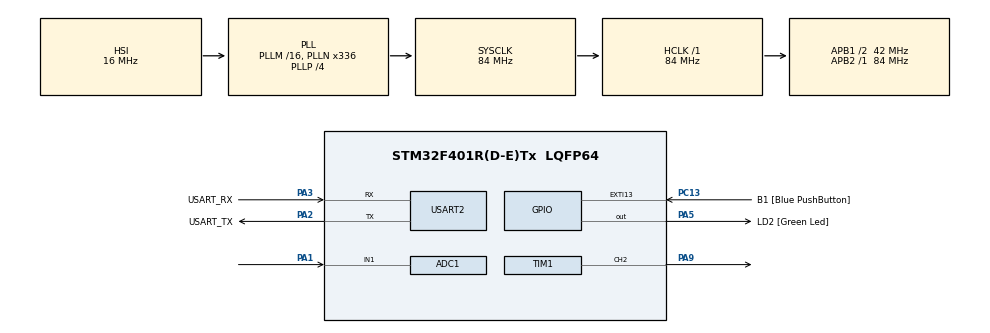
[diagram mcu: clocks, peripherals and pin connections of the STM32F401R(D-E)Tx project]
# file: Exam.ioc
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ADC1.Channel-0\#ChannelRegularConversion=ADC_CHANNEL_1
ADC1.ExternalTrigConv=ADC_EXTERNALTRIGCONV_T3_TRGO
ADC1.NbrOfConversionFlag=1
ADC1.Rank-0\#ChannelRegularConversion=1
ADC1.SamplingTime-0\#ChannelRegularConversion=ADC_SAMPLETIME_480CYCLES
ADC1.master=1
Mcu.Family=STM32F4
Mcu.Name=STM32F401R(D-E)Tx
Mcu.Package=LQFP64
NVIC.ADC_IRQn=true\:1\:0\:true\:false\:true\:true\:true\:true
NVIC.PriorityGroup=NVIC_PRIORITYGROUP_1
PA1.Signal=SharedAnalog_PA1
PA13.GPIO_Label=TMS
PA13.Mode=Serial_Wire
PA13.Signal=SYS_JTMS-SWDIO
PA14.GPIO_Label=TCK
PA14.Mode=Serial_Wire
PA14.Signal=SYS_JTCK-SWCLK
PA2.GPIO_Label=USART_TX
PA2.GPIO_Mode=GPIO_MODE_AF_PP
PA2.GPIO_PuPd=GPIO_NOPULL
PA2.GPIO_Speed=GPIO_SPEED_FREQ_LOW
PA2.Mode=Asynchronous
PA2.Signal=USART2_TX
PA3.GPIO_Label=USART_RX
PA3.GPIO_Mode=GPIO_MODE_AF_PP
PA3.GPIO_PuPd=GPIO_NOPULL
PA3.GPIO_Speed=GPIO_SPEED_FREQ_LOW
PA3.Mode=Asynchronous
PA3.Signal=USART2_RX
PA5.GPIO_Label=LD2 [Green Led]
PA5.GPIO_Mode=GPIO_MODE_OUTPUT_PP
PA5.GPIO_PuPd=GPIO_NOPULL
PA5.GPIO_Speed=GPIO_SPEED_FREQ_LOW
PA5.Signal=GPIO_Output
PA9.Signal=S_TIM1_CH2
PB3.GPIO_Label=SWO
PB3.Signal=SYS_JTDO-SWO
PC13-ANTI_TAMP.GPIO_Label=B1 [Blue PushButton]
PC13-ANTI_TAMP.GPIO_ModeDefaultEXTI=GPIO_MODE_IT_FALLING
PC13-ANTI_TAMP.GPIO_PuPd=GPIO_NOPULL
PC13-ANTI_TAMP.Signal=GPXTI13
PC14-OSC32_IN.Mode=LSE-External-Oscillator
PC14-OSC32_IN.Signal=RCC_OSC32_IN
PC15-OSC32_OUT.Mode=LSE-External-Oscillator
PC15-OSC32_OUT.Signal=RCC_OSC32_OUT
PH0\ -\ OSC_IN.Mode=HSE-External-Clock-Source
PH0\ -\ OSC_IN.Signal=RCC_OSC_IN
PH1\ -\ OSC_OUT.Mode=HSE-External-Clock-Source
PH1\ -\ OSC_OUT.Signal=RCC_OSC_OUT
ProjectManager.HeapSize=0x200
ProjectManager.StackSize=0x400
ProjectManager.TargetToolchain=STM32CubeIDE
RCC.48MHZClocksFreq_Value=48000000
RCC.AHBFreq_Value=84000000
RCC.APB1CLKDivider=RCC_HCLK_DIV2
RCC.APB1Freq_Value=42000000
RCC.APB1TimFreq_Value=84000000
RCC.APB2Freq_Value=84000000
RCC.APB2TimFreq_Value=84000000
RCC.CortexFreq_Value=84000000
RCC.HCLKFreq_Value=84000000
RCC.HSE_VALUE=8000000
RCC.HSI_VALUE=16000000
RCC.PLLN=336
RCC.PLLP=RCC_PLLP_DIV4
RCC.PLLQ=7
RCC.SYSCLKFreq_VALUE=84000000
RCC.SYSCLKSource=RCC_SYSCLKSOURCE_PLLCLK
RCC.VCOOutputFreq_Value=336000000
SH.S_TIM1_CH2.0=TIM1_CH2,PWM Generation2 CH2
SH.SharedAnalog_PA1.0=GPIO_Analog
SH.SharedAnalog_PA1.1=ADC1_IN1,IN1
TIM1.Channel-PWM\ Generation2\ CH2=TIM_CHANNEL_2
TIM3.Channel-PWM\ Generation1\ No\ Output=TIM_CHANNEL_1
TIM3.Period=10000-1
TIM3.Prescaler=8400-1
TIM3.Pulse-PWM\ Generation1\ No\ Output=5000-1
TIM3.TIM_MasterOutputTrigger=TIM_TRGO_UPDATE
USART2.VirtualMode=VM_ASYNC
VP_TIM3_VS_ClockSourceINT.Mode=Internal
VP_TIM3_VS_no_output1.Mode=PWM Generation1 No Output
board=NUCLEO-F401RE

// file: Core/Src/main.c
/* USER CODE BEGIN Header */
/**
  ******************************************************************************
  * @file           : main.c
  * @brief          : Main program body
  ******************************************************************************
  * @attention
  *
  * Copyright (c) 2023 STMicroelectronics.
  * All rights reserved.
  *
  * This software is licensed under terms that can be found in the LICENSE file
  * in the root directory of this software component.
  * If no LICENSE file comes with this software, it is provided AS-IS.
  *
  ******************************************************************************
  */
/* USER CODE END Header */
#include "main.h"

/* USER CODE BEGIN PTD */
#define TIME_UNIT 1000
/* USER CODE END PTD */

ADC_HandleTypeDef hadc1;

TIM_HandleTypeDef htim1;
TIM_HandleTypeDef htim3;

UART_HandleTypeDef huart2;

/* USER CODE BEGIN PV */
float old_voltage=0;
float voltage=0;
int play_l=0;
int play_h=0;
/* USER CODE END PV */

void SystemClock_Config(void);
static void MX_GPIO_Init(void);
static void MX_USART2_UART_Init(void);
static void MX_ADC1_Init(void);
static void MX_TIM3_Init(void);
static void MX_TIM1_Init(void);
/* USER CODE BEGIN PFP */
void HAL_ADC_ConvCpltCallback(ADC_HandleTypeDef* hadc){
	old_voltage=voltage;
	int conversion=HAL_ADC_GetValue(&hadc1);
	voltage= conversion*3.3/4096.0;
	char string[64]="";
	snprintf(string, sizeof(string), "voltage: %0.3f\r\n",voltage);
	HAL_UART_Transmit(&huart2, string, sizeof(string), 1000);
	if(old_voltage>0.5 && voltage<0.5){
		snprintf(string, sizeof(string), "play low\r\n");
		HAL_UART_Transmit(&huart2, string, sizeof(string), 1000);
		play_l=1;;
	}
	if(old_voltage<2.8 && voltage>2.8){
		snprintf(string, sizeof(string), "play high\r\n");
		HAL_UART_Transmit(&huart2, string, sizeof(string), 1000);
		play_h=1;
	}
}
static void setFrequency(char* note)
{
  TIM_ClockConfigTypeDef sClockSourceConfig = {0};
  TIM_MasterConfigTypeDef sMasterConfig = {0};
  TIM_OC_InitTypeDef sConfigOC = {0};
  TIM_BreakDeadTimeConfigTypeDef sBreakDeadTimeConfig = {0};

  htim1.Instance = TIM1;
  htim1.Init.Prescaler = 100;
  htim1.Init.CounterMode = TIM_COUNTERMODE_UP;
  htim1.Init.Period = getPeriod(note)-1;
  htim1.Init.ClockDivision = TIM_CLOCKDIVISION_DIV1;
  htim1.Init.RepetitionCounter = 0;
  htim1.Init.AutoReloadPreload = TIM_AUTORELOAD_PRELOAD_DISABLE;
  if (HAL_TIM_Base_Init(&htim1) != HAL_OK)
  {
    Error_Handler();
  }
  sClockSourceConfig.ClockSource = TIM_CLOCKSOURCE_INTERNAL;
  if (HAL_TIM_ConfigClockSource(&htim1, &sClockSourceConfig) != HAL_OK)
  {
    Error_Handler();
  }
  if (HAL_TIM_PWM_Init(&htim1) != HAL_OK)
  {
    Error_Handler();
  }
  sMasterConfig.MasterOutputTrigger = TIM_TRGO_RESET;
  sMasterConfig.MasterSlaveMode = TIM_MASTERSLAVEMODE_DISABLE;
  if (HAL_TIMEx_MasterConfigSynchronization(&htim1, &sMasterConfig) != HAL_OK)
  {
    Error_Handler();
  }
  sConfigOC.OCMode = TIM_OCMODE_PWM1;
  sConfigOC.Pulse = (int)getPeriod(note)/2 -1;
  sConfigOC.OCPolarity = TIM_OCPOLARITY_HIGH;
  sConfigOC.OCNPolarity = TIM_OCNPOLARITY_HIGH;
  sConfigOC.OCFastMode = TIM_OCFAST_DISABLE;
  sConfigOC.OCIdleState = TIM_OCIDLESTATE_RESET;
  sConfigOC.OCNIdleState = TIM_OCNIDLESTATE_RESET;
  if (HAL_TIM_PWM_ConfigChannel(&htim1, &sConfigOC, TIM_CHANNEL_2) != HAL_OK)
  {
    Error_Handler();
  }
  sBreakDeadTimeConfig.OffStateRunMode = TIM_OSSR_DISABLE;
  sBreakDeadTimeConfig.OffStateIDLEMode = TIM_OSSI_DISABLE;
  sBreakDeadTimeConfig.LockLevel = TIM_LOCKLEVEL_OFF;
  sBreakDeadTimeConfig.DeadTime = 0;
  sBreakDeadTimeConfig.BreakState = TIM_BREAK_DISABLE;
  sBreakDeadTimeConfig.BreakPolarity = TIM_BREAKPOLARITY_HIGH;
  sBreakDeadTimeConfig.AutomaticOutput = TIM_AUTOMATICOUTPUT_DISABLE;
  if (HAL_TIMEx_ConfigBreakDeadTime(&htim1, &sBreakDeadTimeConfig) != HAL_OK)
  {
    Error_Handler();
  }
  HAL_TIM_MspPostInit(&htim1);
}

int getPeriod(char* note){
	if(strcmp(note, "la")==0)
		return 1909;
	else if (strcmp(note, "la#")==0)
			return 1802;
	else if (strcmp(note, "si")==0)
			return 1700;
	else if (strcmp(note, "do")==0)
			return 3206;
	else if (strcmp(note, "do#")==0)
			return 3032;
	else if (strcmp(note, "re")==0)
			return 2857;
	else if (strcmp(note, "re5")==0)
				return 1431;
	else if (strcmp(note, "re#")==0)
			return 2700;
	else if (strcmp(note, "mi")==0)
			return 2545;
	else if (strcmp(note, "fa")==0)
			return 2406;
	else if (strcmp(note, "fa#")==0)
			return 2270;
	else if (strcmp(note, "sol")==0)
			return 2142;
	else if (strcmp(note, "sol#")==0)
			return 2024;
}
void setNote (char* note, int delay){
	setFrequency(note);
	HAL_TIM_PWM_Start(&htim1, TIM_CHANNEL_2);
	HAL_Delay(delay);
	HAL_TIM_PWM_Stop(&htim1, TIM_CHANNEL_2);
}
void play_high(){
	 setNote("sol", (int)TIME_UNIT * 3/8);
}
void play_low(){
	 setNote("la", (int)TIME_UNIT * 3/8);
}
/* USER CODE END PFP */

int main(void)
{

  /* MCU Configuration--------------------------------------------------------*/

  /* Reset of all peripherals, Initializes the Flash interface and the Systick. */
  HAL_Init();

  /* Configure the system clock */
  SystemClock_Config();

  /* Initialize all configured peripherals */
  MX_GPIO_Init();
  MX_USART2_UART_Init();
  MX_ADC1_Init();
  MX_TIM3_Init();
  MX_TIM1_Init();
  /* USER CODE BEGIN 2 */

  HAL_ADC_Start_IT(&hadc1);
  HAL_TIM_Base_Start_IT(&htim3);

  /* USER CODE END 2 */

  /* Infinite loop */
  /* USER CODE BEGIN WHILE */
  while (1)
  {
	  if(play_h==1){
		  play_high();
		  play_h=0;
	  }
	  if(play_l==1){
		  play_low();
		  play_l=0;
	  }
    /* USER CODE END WHILE */

  }
}

void SystemClock_Config(void)
{
  RCC_OscInitTypeDef RCC_OscInitStruct = {0};
  RCC_ClkInitTypeDef RCC_ClkInitStruct = {0};

  /** Configure the main internal regulator output voltage
  */
  __HAL_RCC_PWR_CLK_ENABLE();
  __HAL_PWR_VOLTAGESCALING_CONFIG(PWR_REGULATOR_VOLTAGE_SCALE2);

  /** Initializes the RCC Oscillators according to the specified parameters
  * in the RCC_OscInitTypeDef structure.
  */
  RCC_OscInitStruct.OscillatorType = RCC_OSCILLATORTYPE_HSI;
  RCC_OscInitStruct.HSIState = RCC_HSI_ON;
  RCC_OscInitStruct.HSICalibrationValue = RCC_HSICALIBRATION_DEFAULT;
  RCC_OscInitStruct.PLL.PLLState = RCC_PLL_ON;
  RCC_OscInitStruct.PLL.PLLSource = RCC_PLLSOURCE_HSI;
  RCC_OscInitStruct.PLL.PLLM = 16;
  RCC_OscInitStruct.PLL.PLLN = 336;
  RCC_OscInitStruct.PLL.PLLP = RCC_PLLP_DIV4;
  RCC_OscInitStruct.PLL.PLLQ = 7;
  if (HAL_RCC_OscConfig(&RCC_OscInitStruct) != HAL_OK)
  {
    Error_Handler();
  }

  /** Initializes the CPU, AHB and APB buses clocks
  */
  RCC_ClkInitStruct.ClockType = RCC_CLOCKTYPE_HCLK|RCC_CLOCKTYPE_SYSCLK
                              |RCC_CLOCKTYPE_PCLK1|RCC_CLOCKTYPE_PCLK2;
  RCC_ClkInitStruct.SYSCLKSource = RCC_SYSCLKSOURCE_PLLCLK;
  RCC_ClkInitStruct.AHBCLKDivider = RCC_SYSCLK_DIV1;
  RCC_ClkInitStruct.APB1CLKDivider = RCC_HCLK_DIV2;
  RCC_ClkInitStruct.APB2CLKDivider = RCC_HCLK_DIV1;

  if (HAL_RCC_ClockConfig(&RCC_ClkInitStruct, FLASH_LATENCY_2) != HAL_OK)
  {
    Error_Handler();
  }
}

static void MX_ADC1_Init(void)
{

  ADC_ChannelConfTypeDef sConfig = {0};

  /** Configure the global features of the ADC (Clock, Resolution, Data Alignment and number of conversion)
  */
  hadc1.Instance = ADC1;
  hadc1.Init.ClockPrescaler = ADC_CLOCK_SYNC_PCLK_DIV4;
  hadc1.Init.Resolution = ADC_RESOLUTION_12B;
  hadc1.Init.ScanConvMode = DISABLE;
  hadc1.Init.ContinuousConvMode = DISABLE;
  hadc1.Init.DiscontinuousConvMode = DISABLE;
  hadc1.Init.ExternalTrigConvEdge = ADC_EXTERNALTRIGCONVEDGE_RISING;
  hadc1.Init.ExternalTrigConv = ADC_EXTERNALTRIGCONV_T3_TRGO;
  hadc1.Init.DataAlign = ADC_DATAALIGN_RIGHT;
  hadc1.Init.NbrOfConversion = 1;
  hadc1.Init.DMAContinuousRequests = DISABLE;
  hadc1.Init.EOCSelection = ADC_EOC_SINGLE_CONV;
  if (HAL_ADC_Init(&hadc1) != HAL_OK)
  {
    Error_Handler();
  }

  /** Configure for the selected ADC regular channel its corresponding rank in the sequencer and its sample time.
  */
  sConfig.Channel = ADC_CHANNEL_1;
  sConfig.Rank = 1;
  sConfig.SamplingTime = ADC_SAMPLETIME_480CYCLES;
  if (HAL_ADC_ConfigChannel(&hadc1, &sConfig) != HAL_OK)
  {
    Error_Handler();
  }

}

static void MX_TIM1_Init(void)
{

  TIM_MasterConfigTypeDef sMasterConfig = {0};
  TIM_OC_InitTypeDef sConfigOC = {0};
  TIM_BreakDeadTimeConfigTypeDef sBreakDeadTimeConfig = {0};

  htim1.Instance = TIM1;
  htim1.Init.Prescaler = 0;
  htim1.Init.CounterMode = TIM_COUNTERMODE_UP;
  htim1.Init.Period = 65535;
  htim1.Init.ClockDivision = TIM_CLOCKDIVISION_DIV1;
  htim1.Init.RepetitionCounter = 0;
  htim1.Init.AutoReloadPreload = TIM_AUTORELOAD_PRELOAD_DISABLE;
  if (HAL_TIM_PWM_Init(&htim1) != HAL_OK)
  {
    Error_Handler();
  }
  sMasterConfig.MasterOutputTrigger = TIM_TRGO_RESET;
  sMasterConfig.MasterSlaveMode = TIM_MASTERSLAVEMODE_DISABLE;
  if (HAL_TIMEx_MasterConfigSynchronization(&htim1, &sMasterConfig) != HAL_OK)
  {
    Error_Handler();
  }
  sConfigOC.OCMode = TIM_OCMODE_PWM1;
  sConfigOC.Pulse = 0;
  sConfigOC.OCPolarity = TIM_OCPOLARITY_HIGH;
  sConfigOC.OCNPolarity = TIM_OCNPOLARITY_HIGH;
  sConfigOC.OCFastMode = TIM_OCFAST_DISABLE;
  sConfigOC.OCIdleState = TIM_OCIDLESTATE_RESET;
  sConfigOC.OCNIdleState = TIM_OCNIDLESTATE_RESET;
  if (HAL_TIM_PWM_ConfigChannel(&htim1, &sConfigOC, TIM_CHANNEL_2) != HAL_OK)
  {
    Error_Handler();
  }
  sBreakDeadTimeConfig.OffStateRunMode = TIM_OSSR_DISABLE;
  sBreakDeadTimeConfig.OffStateIDLEMode = TIM_OSSI_DISABLE;
  sBreakDeadTimeConfig.LockLevel = TIM_LOCKLEVEL_OFF;
  sBreakDeadTimeConfig.DeadTime = 0;
  sBreakDeadTimeConfig.BreakState = TIM_BREAK_DISABLE;
  sBreakDeadTimeConfig.BreakPolarity = TIM_BREAKPOLARITY_HIGH;
  sBreakDeadTimeConfig.AutomaticOutput = TIM_AUTOMATICOUTPUT_DISABLE;
  if (HAL_TIMEx_ConfigBreakDeadTime(&htim1, &sBreakDeadTimeConfig) != HAL_OK)
  {
    Error_Handler();
  }
  HAL_TIM_MspPostInit(&htim1);

}

static void MX_TIM3_Init(void)
{

  TIM_ClockConfigTypeDef sClockSourceConfig = {0};
  TIM_MasterConfigTypeDef sMasterConfig = {0};
  TIM_OC_InitTypeDef sConfigOC = {0};

  htim3.Instance = TIM3;
  htim3.Init.Prescaler = 8400-1;
  htim3.Init.CounterMode = TIM_COUNTERMODE_UP;
  htim3.Init.Period = 10000-1;
  htim3.Init.ClockDivision = TIM_CLOCKDIVISION_DIV1;
  htim3.Init.AutoReloadPreload = TIM_AUTORELOAD_PRELOAD_DISABLE;
  if (HAL_TIM_Base_Init(&htim3) != HAL_OK)
  {
    Error_Handler();
  }
  sClockSourceConfig.ClockSource = TIM_CLOCKSOURCE_INTERNAL;
  if (HAL_TIM_ConfigClockSource(&htim3, &sClockSourceConfig) != HAL_OK)
  {
    Error_Handler();
  }
  if (HAL_TIM_PWM_Init(&htim3) != HAL_OK)
  {
    Error_Handler();
  }
  sMasterConfig.MasterOutputTrigger = TIM_TRGO_UPDATE;
  sMasterConfig.MasterSlaveMode = TIM_MASTERSLAVEMODE_DISABLE;
  if (HAL_TIMEx_MasterConfigSynchronization(&htim3, &sMasterConfig) != HAL_OK)
  {
    Error_Handler();
  }
  sConfigOC.OCMode = TIM_OCMODE_PWM1;
  sConfigOC.Pulse = 5000-1;
  sConfigOC.OCPolarity = TIM_OCPOLARITY_HIGH;
  sConfigOC.OCFastMode = TIM_OCFAST_DISABLE;
  if (HAL_TIM_PWM_ConfigChannel(&htim3, &sConfigOC, TIM_CHANNEL_1) != HAL_OK)
  {
    Error_Handler();
  }

}

static void MX_USART2_UART_Init(void)
{

  huart2.Instance = USART2;
  huart2.Init.BaudRate = 115200;
  huart2.Init.WordLength = UART_WORDLENGTH_8B;
  huart2.Init.StopBits = UART_STOPBITS_1;
  huart2.Init.Parity = UART_PARITY_NONE;
  huart2.Init.Mode = UART_MODE_TX_RX;
  huart2.Init.HwFlowCtl = UART_HWCONTROL_NONE;
  huart2.Init.OverSampling = UART_OVERSAMPLING_16;
  if (HAL_UART_Init(&huart2) != HAL_OK)
  {
    Error_Handler();
  }

}

static void MX_GPIO_Init(void)
{
  GPIO_InitTypeDef GPIO_InitStruct = {0};

  /* GPIO Ports Clock Enable */
  __HAL_RCC_GPIOC_CLK_ENABLE();
  __HAL_RCC_GPIOH_CLK_ENABLE();
  __HAL_RCC_GPIOA_CLK_ENABLE();
  __HAL_RCC_GPIOB_CLK_ENABLE();

  /*Configure GPIO pin Output Level */
  HAL_GPIO_WritePin(LD2_GPIO_Port, LD2_Pin, GPIO_PIN_RESET);

  /*Configure GPIO pin : B1_Pin */
  GPIO_InitStruct.Pin = B1_Pin;
  GPIO_InitStruct.Mode = GPIO_MODE_IT_FALLING;
  GPIO_InitStruct.Pull = GPIO_NOPULL;
  HAL_GPIO_Init(B1_GPIO_Port, &GPIO_InitStruct);

  /*Configure GPIO pin : LD2_Pin */
  GPIO_InitStruct.Pin = LD2_Pin;
  GPIO_InitStruct.Mode = GPIO_MODE_OUTPUT_PP;
  GPIO_InitStruct.Pull = GPIO_NOPULL;
  GPIO_InitStruct.Speed = GPIO_SPEED_FREQ_LOW;
  HAL_GPIO_Init(LD2_GPIO_Port, &GPIO_InitStruct);

}

void Error_Handler(void)
{
  __disable_irq();
  while (1)
  {
  }
}
